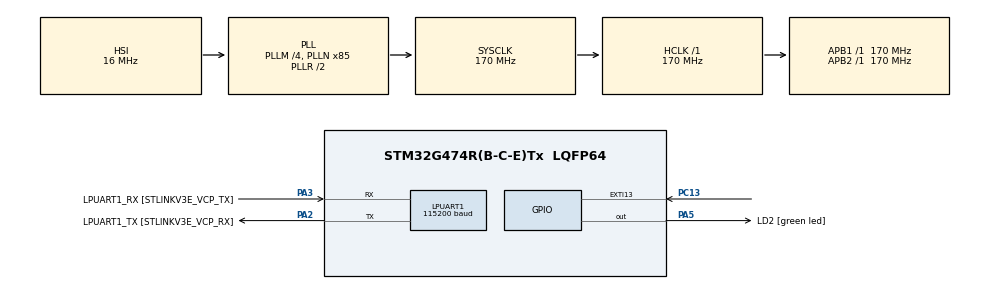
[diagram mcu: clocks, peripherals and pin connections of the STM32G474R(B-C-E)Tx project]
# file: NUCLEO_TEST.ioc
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LPUART1.BaudRate=115200
LPUART1.WordLength=UART_WORDLENGTH_8B
Mcu.Family=STM32G4
Mcu.Name=STM32G474R(B-C-E)Tx
Mcu.Package=LQFP64
NVIC.EXTI15_10_IRQn=true\:1\:0\:true\:false\:true\:true\:true
NVIC.LPUART1_IRQn=true\:0\:0\:false\:false\:true\:true\:true
NVIC.PriorityGroup=NVIC_PRIORITYGROUP_4
NVIC.TIM2_IRQn=true\:0\:0\:false\:false\:true\:true\:true
PA13.GPIO_Label=T_SWDIO
PA13.Mode=Serial_Wire
PA13.Signal=SYS_JTMS-SWDIO
PA14.GPIO_Label=T_SWCLK
PA14.Mode=Serial_Wire
PA14.Signal=SYS_JTCK-SWCLK
PA2.GPIO_Label=LPUART1_TX [STLINKV3E_VCP_RX]
PA2.Mode=Asynchronous
PA2.Signal=LPUART1_TX
PA3.GPIO_Label=LPUART1_RX [STLINKV3E_VCP_TX]
PA3.Mode=Asynchronous
PA3.Signal=LPUART1_RX
PA5.GPIO_Label=LD2 [green led]
PA5.Signal=GPIO_Output
PB3.GPIO_Label=T_SWO
PB3.Signal=SYS_JTDO-SWO
PC13.GPIO_PuPd=GPIO_PULLDOWN
PC13.Signal=GPXTI13
PC14-OSC32_IN.Mode=LSE-External-Oscillator
PC14-OSC32_IN.Signal=RCC_OSC32_IN
PC15-OSC32_OUT.Mode=LSE-External-Oscillator
PC15-OSC32_OUT.Signal=RCC_OSC32_OUT
PF0-OSC_IN.Mode=HSE-External-Oscillator
PF0-OSC_IN.Signal=RCC_OSC_IN
PF1-OSC_OUT.Mode=HSE-External-Oscillator
PF1-OSC_OUT.Signal=RCC_OSC_OUT
ProjectManager.HeapSize=0x200
ProjectManager.StackSize=0x400
ProjectManager.TargetToolchain=STM32CubeIDE
RCC.ADC12Freq_Value=170000000
RCC.ADC345Freq_Value=170000000
RCC.AHBFreq_Value=170000000
RCC.APB1Freq_Value=170000000
RCC.APB1TimFreq_Value=170000000
RCC.APB2Freq_Value=170000000
RCC.APB2TimFreq_Value=170000000
RCC.CortexFreq_Value=170000000
RCC.EXTERNAL_CLOCK_VALUE=12288000
RCC.HCLKFreq_Value=170000000
RCC.HSE_VALUE=24000000
RCC.HSI48_VALUE=48000000
RCC.HSI_VALUE=16000000
RCC.PLLM=RCC_PLLM_DIV4
RCC.PLLN=85
RCC.RTCClockSelection=RCC_RTCCLKSOURCE_LSE
RCC.SYSCLKFreq_VALUE=170000000
RCC.SYSCLKSource=RCC_SYSCLKSOURCE_PLLCLK
RCC.USBFreq_Value=170000000
RCC.VCOOutputFreq_Value=340000000
TIM2.AutoReloadPreload=TIM_AUTORELOAD_PRELOAD_ENABLE
TIM2.PeriodNoDither=1700
TIM2.Prescaler=1000
VP_SYS_VS_DBSignals.Mode=DisableDeadBatterySignals
VP_TIM2_VS_ClockSourceINT.Mode=Internal
board=NUCLEO-G474RE

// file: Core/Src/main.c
/* USER CODE BEGIN Header */
/**
  ******************************************************************************
  * @file           : main.c
  * @brief          : Main program body
  ******************************************************************************
  * @attention
  *
  * <h2><center>&copy; Copyright (c) 2022 STMicroelectronics.
  * All rights reserved.</center></h2>
  *
  * This software component is licensed by ST under BSD 3-Clause license,
  * the "License"; You may not use this file except in compliance with the
  * License. You may obtain a copy of the License at:
  *                        opensource.org/licenses/BSD-3-Clause
  *
  ******************************************************************************
  */
/* USER CODE END Header */
#include "main.h"
#include "LiquidCrystal.h"

UART_HandleTypeDef hlpuart1;

TIM_HandleTypeDef htim2;

/* USER CODE BEGIN PV */
uint8_t car_passed = 0;
/* USER CODE END PV */

void SystemClock_Config(void);
static void MX_GPIO_Init(void);
static void MX_LPUART1_UART_Init(void);
static void MX_TIM2_Init(void);

int main(void)
{

  /* MCU Configuration--------------------------------------------------------*/

  /* Reset of all peripherals, Initializes the Flash interface and the Systick. */
  HAL_Init();

  /* Configure the system clock */
  SystemClock_Config();

  /* Initialize all configured peripherals */
  MX_GPIO_Init();
  MX_LPUART1_UART_Init();
  MX_TIM2_Init();
  /* USER CODE BEGIN 2 */
  LiquidCrystal(GPIOC, RS_Pin, GPIO_PIN_6, ENABLE_Pin, DB4_Pin, DB5_Pin, DB6_Pin, DB7_Pin);
   print("Starting...");
   noDisplay();
   HAL_Delay(500);
  // Turn on the display:
   display();
   HAL_Delay(1000);
  Reset();
  /* USER CODE END 2 */

  /* Infinite loop */
  while (1)
    {

    /* USER CODE BEGIN 3 */
  	  if(car_passed == 1)
  	  {
  		  HAL_TIM_Base_Start_IT(&htim2);
  		  car_passed = 2;
  	  }
  	  else if(car_passed == 3)
  	  {
  		  Reset();
  		  car_passed = 1;
  	  }
  	  else
  	  {
  		  //wait for car to pass
  	  }
    }
  /* USER CODE END 3 */
}
void SystemClock_Config(void)
{
  RCC_OscInitTypeDef RCC_OscInitStruct = {0};
  RCC_ClkInitTypeDef RCC_ClkInitStruct = {0};
  RCC_PeriphCLKInitTypeDef PeriphClkInit = {0};

  /** Configure the main internal regulator output voltage
  */
  HAL_PWREx_ControlVoltageScaling(PWR_REGULATOR_VOLTAGE_SCALE1_BOOST);
  /** Initializes the RCC Oscillators according to the specified parameters
  * in the RCC_OscInitTypeDef structure.
  */
  RCC_OscInitStruct.OscillatorType = RCC_OSCILLATORTYPE_HSI;
  RCC_OscInitStruct.HSIState = RCC_HSI_ON;
  RCC_OscInitStruct.HSICalibrationValue = RCC_HSICALIBRATION_DEFAULT;
  RCC_OscInitStruct.PLL.PLLState = RCC_PLL_ON;
  RCC_OscInitStruct.PLL.PLLSource = RCC_PLLSOURCE_HSI;
  RCC_OscInitStruct.PLL.PLLM = RCC_PLLM_DIV4;
  RCC_OscInitStruct.PLL.PLLN = 85;
  RCC_OscInitStruct.PLL.PLLP = RCC_PLLP_DIV2;
  RCC_OscInitStruct.PLL.PLLQ = RCC_PLLQ_DIV2;
  RCC_OscInitStruct.PLL.PLLR = RCC_PLLR_DIV2;
  if (HAL_RCC_OscConfig(&RCC_OscInitStruct) != HAL_OK)
  {
    Error_Handler();
  }
  /** Initializes the CPU, AHB and APB buses clocks
  */
  RCC_ClkInitStruct.ClockType = RCC_CLOCKTYPE_HCLK|RCC_CLOCKTYPE_SYSCLK
                              |RCC_CLOCKTYPE_PCLK1|RCC_CLOCKTYPE_PCLK2;
  RCC_ClkInitStruct.SYSCLKSource = RCC_SYSCLKSOURCE_PLLCLK;
  RCC_ClkInitStruct.AHBCLKDivider = RCC_SYSCLK_DIV1;
  RCC_ClkInitStruct.APB1CLKDivider = RCC_HCLK_DIV1;
  RCC_ClkInitStruct.APB2CLKDivider = RCC_HCLK_DIV1;

  if (HAL_RCC_ClockConfig(&RCC_ClkInitStruct, FLASH_LATENCY_4) != HAL_OK)
  {
    Error_Handler();
  }
  /** Initializes the peripherals clocks
  */
  PeriphClkInit.PeriphClockSelection = RCC_PERIPHCLK_LPUART1;
  PeriphClkInit.Lpuart1ClockSelection = RCC_LPUART1CLKSOURCE_PCLK1;
  if (HAL_RCCEx_PeriphCLKConfig(&PeriphClkInit) != HAL_OK)
  {
    Error_Handler();
  }
}

static void MX_LPUART1_UART_Init(void)
{

  hlpuart1.Instance = LPUART1;
  hlpuart1.Init.BaudRate = 115200;
  hlpuart1.Init.WordLength = UART_WORDLENGTH_8B;
  hlpuart1.Init.StopBits = UART_STOPBITS_1;
  hlpuart1.Init.Parity = UART_PARITY_NONE;
  hlpuart1.Init.Mode = UART_MODE_TX_RX;
  hlpuart1.Init.HwFlowCtl = UART_HWCONTROL_NONE;
  hlpuart1.Init.OneBitSampling = UART_ONE_BIT_SAMPLE_DISABLE;
  hlpuart1.Init.ClockPrescaler = UART_PRESCALER_DIV1;
  hlpuart1.AdvancedInit.AdvFeatureInit = UART_ADVFEATURE_NO_INIT;
  if (HAL_UART_Init(&hlpuart1) != HAL_OK)
  {
    Error_Handler();
  }
  if (HAL_UARTEx_SetTxFifoThreshold(&hlpuart1, UART_TXFIFO_THRESHOLD_1_8) != HAL_OK)
  {
    Error_Handler();
  }
  if (HAL_UARTEx_SetRxFifoThreshold(&hlpuart1, UART_RXFIFO_THRESHOLD_1_8) != HAL_OK)
  {
    Error_Handler();
  }
  if (HAL_UARTEx_DisableFifoMode(&hlpuart1) != HAL_OK)
  {
    Error_Handler();
  }

}

static void MX_TIM2_Init(void)
{

  TIM_ClockConfigTypeDef sClockSourceConfig = {0};
  TIM_MasterConfigTypeDef sMasterConfig = {0};

  htim2.Instance = TIM2;
  htim2.Init.Prescaler = 1000;
  htim2.Init.CounterMode = TIM_COUNTERMODE_UP;
  htim2.Init.Period = 170;
  htim2.Init.ClockDivision = TIM_CLOCKDIVISION_DIV1;
  htim2.Init.AutoReloadPreload = TIM_AUTORELOAD_PRELOAD_ENABLE;
  if (HAL_TIM_Base_Init(&htim2) != HAL_OK)
  {
    Error_Handler();
  }
  sClockSourceConfig.ClockSource = TIM_CLOCKSOURCE_INTERNAL;
  if (HAL_TIM_ConfigClockSource(&htim2, &sClockSourceConfig) != HAL_OK)
  {
    Error_Handler();
  }
  sMasterConfig.MasterOutputTrigger = TIM_TRGO_RESET;
  sMasterConfig.MasterSlaveMode = TIM_MASTERSLAVEMODE_DISABLE;
  if (HAL_TIMEx_MasterConfigSynchronization(&htim2, &sMasterConfig) != HAL_OK)
  {
    Error_Handler();
  }

}

static void MX_GPIO_Init(void)
{
  GPIO_InitTypeDef GPIO_InitStruct = {0};

  /* GPIO Ports Clock Enable */
  __HAL_RCC_GPIOC_CLK_ENABLE();
  __HAL_RCC_GPIOF_CLK_ENABLE();
  __HAL_RCC_GPIOA_CLK_ENABLE();
  __HAL_RCC_GPIOB_CLK_ENABLE();

  /*Configure GPIO pin Output Level */
  HAL_GPIO_WritePin(LD2_GPIO_Port, LD2_Pin, GPIO_PIN_RESET);

  /*Configure GPIO pin : PC13 */
  GPIO_InitStruct.Pin = GPIO_PIN_13;
  GPIO_InitStruct.Mode = GPIO_MODE_IT_RISING;
  GPIO_InitStruct.Pull = GPIO_PULLDOWN;
  HAL_GPIO_Init(GPIOC, &GPIO_InitStruct);

  /*Configure GPIO pin : LD2_Pin */
  GPIO_InitStruct.Pin = LD2_Pin;
  GPIO_InitStruct.Mode = GPIO_MODE_OUTPUT_PP;
  GPIO_InitStruct.Pull = GPIO_NOPULL;
  GPIO_InitStruct.Speed = GPIO_SPEED_FREQ_LOW;
  HAL_GPIO_Init(LD2_GPIO_Port, &GPIO_InitStruct);

  /* EXTI interrupt init*/
  HAL_NVIC_SetPriority(EXTI15_10_IRQn, 1, 0);
  HAL_NVIC_EnableIRQ(EXTI15_10_IRQn);

}

void Error_Handler(void)
{
  __disable_irq();
  while (1)
  {
  }
}

/************************ (C) COPYRIGHT STMicroelectronics *****END OF FILE****/
